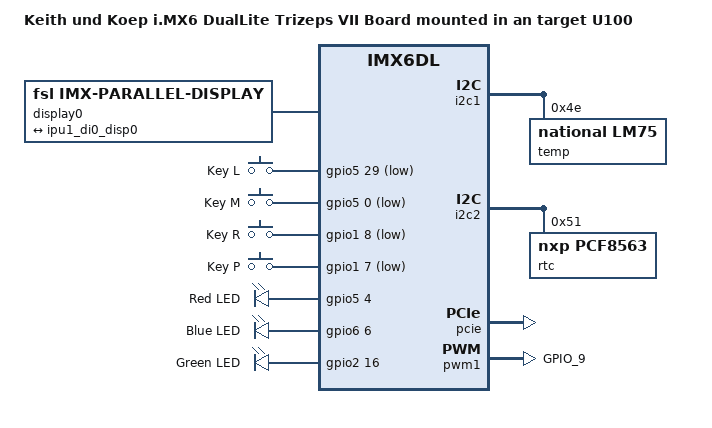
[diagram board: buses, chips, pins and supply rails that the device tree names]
/dts-v1/;
#include "imx6dl-trizeps7.dtsi"

/ {
	model = "Keith und Koep i.MX6 DualLite Trizeps VII Board mounted in an target U100";

	soc {
		display0: display@di0 {
			compatible = "fsl,imx-parallel-display";
			interface-pix-fmt = "rgb24";
			pinctrl-names = "default";
			pinctrl-0 = <&pinctrl_ipu1_1>;
			status = "okay";
			display-timings {
				480x800p75 {
					native-mode;
					clock-frequency = <30720000>;
					hactive = <480>;
					vactive = <800>;
					hback-porch = <10>;
					hfront-porch = <8>;
					vback-porch = <2>;
					vfront-porch = <2>;
					hsync-len = <10>;
					vsync-len = <2>;
					vsync-active = <0>;
				};
			};

			port {
				display0_in: endpoint {
					remote-endpoint = <&ipu1_di0_disp0>;
				};
			};
		};
	};

/*	backlight {
		compatible = "pwm-backlight";
		pwms = <&pwm1 0 3517 PWM_POLARITY_INVERTED>;
		enable-gpios = <&gpio4 20 0>;
		brightness-levels = <0 4 8 16 32 64 128 255>;
		default-brightness-level = <6>;
		status = "okay";
	};*/

	gpio-keys {
		compatible = "gpio-keys";
		status = "ok";
		pinctrl-names = "default";
		pinctrl-0 = <&pinctrl_gpio_keys>;

		left {
			label = "Key L";
			gpios = <&gpio5 29 GPIO_ACTIVE_LOW>;
			linux,code = <KEY_L>;
		};
		middle {
			label = "Key M";
			gpios = <&gpio5 0 GPIO_ACTIVE_LOW>;
			linux,code = <KEY_M>;
		};
		right {
			label = "Key R";
			gpios = <&gpio1 8 GPIO_ACTIVE_LOW>;
			linux,code = <KEY_R>;
		};
		power {
			label = "Key P";
			gpios = <&gpio1 7 GPIO_ACTIVE_LOW>;
			linux,code = <KEY_P>;
		};
	};

	gpio-leds {
		compatible = "gpio-leds";
		pinctrl-names = "default";
		pinctrl-0 = <&pinctrl_gpio_leds>;
		red {
			label = "Red LED";
			gpios = <&gpio5 4 GPIO_ACTIVE_HIGH>;
			linux,default-trigger = "none";
		};
		blue {
			label = "Blue LED";
			gpios = <&gpio6 6 GPIO_ACTIVE_HIGH>;
			linux,default-trigger = "none";
		};
		green {
			label = "Green LED";
			gpios = <&gpio2 16 GPIO_ACTIVE_HIGH>;
			linux,default-trigger = "none";
		};
	};
/*	gpio-poweroff {
		compatible = "gpio-poweroff";
		pinctrl-names = "default";
		pinctrl-0 = <&pinctrl_gpio_poweroff>;
		gpios = <&gpio4 14 GPIO_ACTIVE_HIGH>;
	};*/
};

&iomuxc {
	f500 {
		pinctrl_gpio_keys: gpio_keysgrp {
			fsl,pins = <
				MX6QDL_PAD_CSI0_DAT11__GPIO5_IO29	0x80000000
				MX6QDL_PAD_EIM_WAIT__GPIO5_IO00	0x80000000
				MX6QDL_PAD_GPIO_8__GPIO1_IO08	0x80000000
				MX6QDL_PAD_GPIO_7__GPIO1_IO07	0x80000000
			>;
		};
		pinctrl_gpio_leds: gpio_ledsgrp {
			fsl,pins = <
				MX6QDL_PAD_EIM_A24__GPIO5_IO04 0x80000000
				MX6QDL_PAD_EIM_A23__GPIO6_IO06 0x80000000
				MX6QDL_PAD_EIM_A22__GPIO2_IO16 0x80000000
			>;
		};
		pinctrl_pwm1: pwm1grp {
			fsl,pins = <
				MX6QDL_PAD_GPIO_9__PWM1_OUT	0x1b0b1
			>;
		};
	};
};

&i2c1 {
	status = "okay";
	temp: temp@4E {
		compatible = "national,lm75";
		reg = <0x4E>;
		status = "okay";
	};
/*	accel: accel@1C {
		compatible = "fsl,mma8452";
		reg = <0x1C>;
		status = "okay";
	}; */
};
&i2c2 {
	rtc: rtc@51 {
		compatible = "nxp,pcf8563";
		reg = <0x51>;
		status = "okay";
	};
};

&pcie {
	status = "okay";
/*	reset-gpio = <&gpio3 13 0>;
	wake-up-gpio = <&gpio6 7 0>;*/
};

&ipu1_di0_disp0 {
	remote-endpoint = <&display0_in>;
};

&pwm1 {
	pinctrl-names = "default";
	pinctrl-0 = <&pinctrl_pwm1>;
	status = "okay";
};
